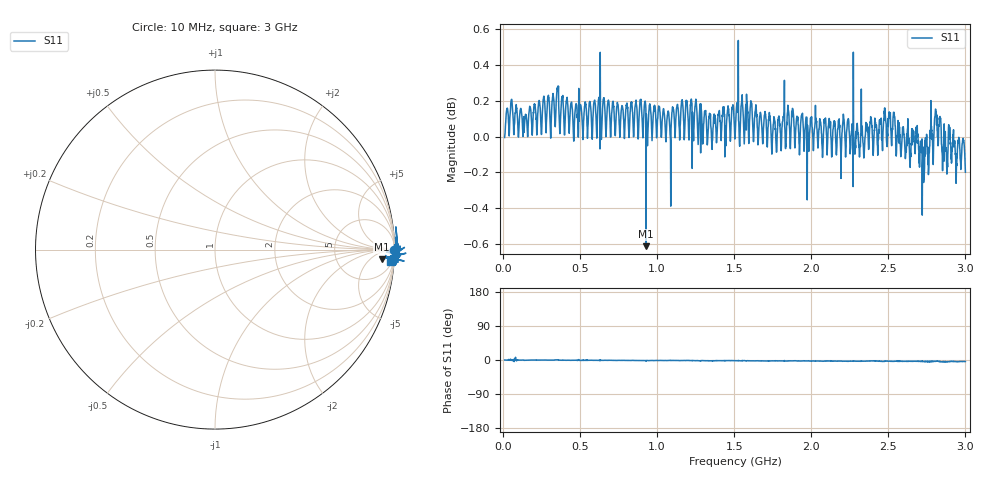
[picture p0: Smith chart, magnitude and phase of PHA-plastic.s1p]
# HZ S RI R 50
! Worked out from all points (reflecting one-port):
!   2020 points, 10 MHz to 3 GHz, reference 50 ohm
!   lowest |S11| = -0.6 dB at 928.2 MHz (marker M1), VSWR 28.45, Z = 836 - j699 ohm
!   phase of S11 starts at -0 deg and turns -4 deg over the sweep
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1e7  0.9994 -0.000651
4.406141e7  1.012 -0.0145
5.887072e7  1.021 -0.026
8.848934e7  1.018 -0.0294
9.737493e7  1.004 0.000682
3.195146e8  1.023 -0.00779
3.446904e8  1.022 0.00682
3.846755e8  1.025 -0.0114
7.578702e8  0.9994 -0.0169
9.281772e8  0.9305 -0.0549
1.132546e9  1.021 -0.0207
1.351723e9  1 -0.0333
1.50574e9  0.9996 -0.0292
1.686414e9  0.997 -0.0418
1.833026e9  0.9912 -0.0479
1.878935e9  1.017 -0.0427
2.25361e9  0.99 -0.0487
2.401704e9  0.987 -0.0438
2.460941e9  0.9917 -0.0689
2.49204e9  0.9922 -0.0519
2.626805e9  1.01 -0.0487
2.677157e9  0.9987 -0.0609
2.727508e9  0.9788 -0.0668
2.766013e9  0.9866 -0.08
2.813402e9  1.006 -0.0571
2.854868e9  0.9875 -0.0809
2.917068e9  0.9918 -0.0609
3e9  0.9751 -0.0668
